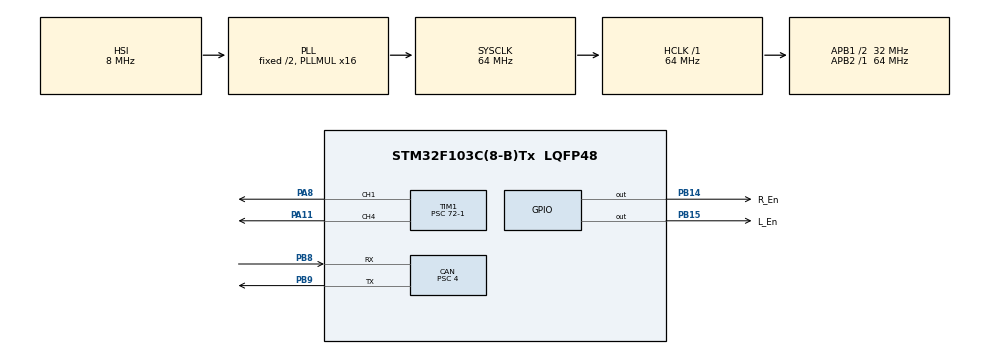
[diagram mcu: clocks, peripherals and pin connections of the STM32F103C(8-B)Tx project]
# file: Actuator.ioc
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CAN.BS1=CAN_BS1_13TQ
CAN.BS2=CAN_BS2_4TQ
CAN.CalculateBaudRate=444444
CAN.CalculateTimeBit=2250
CAN.CalculateTimeQuantum=125.0
CAN.Prescaler=4
Mcu.Family=STM32F1
Mcu.Name=STM32F103C(8-B)Tx
Mcu.Package=LQFP48
NVIC.PriorityGroup=NVIC_PRIORITYGROUP_4
PA11.Signal=S_TIM1_CH4
PA8.Signal=S_TIM1_CH1
PB14.GPIO_Label=R_En
PB14.GPIO_Speed=GPIO_SPEED_FREQ_HIGH
PB14.PinState=GPIO_PIN_SET
PB14.Signal=GPIO_Output
PB15.GPIO_Label=L_En
PB15.GPIO_Speed=GPIO_SPEED_FREQ_HIGH
PB15.PinState=GPIO_PIN_SET
PB15.Signal=GPIO_Output
PB8.Mode=CAN_Activate
PB8.Signal=CAN_RX
PB9.Mode=CAN_Activate
PB9.Signal=CAN_TX
ProjectManager.HeapSize=0x200
ProjectManager.StackSize=0x400
ProjectManager.TargetToolchain=STM32CubeIDE
RCC.AHBFreq_Value=64000000
RCC.APB1CLKDivider=RCC_HCLK_DIV2
RCC.APB1Freq_Value=32000000
RCC.APB1TimFreq_Value=64000000
RCC.APB2Freq_Value=64000000
RCC.APB2TimFreq_Value=64000000
RCC.HCLKFreq_Value=64000000
RCC.PLLMUL=RCC_PLL_MUL16
RCC.SYSCLKFreq_VALUE=64000000
RCC.SYSCLKSource=RCC_SYSCLKSOURCE_PLLCLK
RCC.USBFreq_Value=64000000
SH.S_TIM1_CH1.0=TIM1_CH1,PWM Generation1 CH1
SH.S_TIM1_CH4.0=TIM1_CH4,Output Compare4 CH4
TIM1.Channel-Output\ Compare4\ CH4=TIM_CHANNEL_4
TIM1.Channel-PWM\ Generation1\ CH1=TIM_CHANNEL_1
TIM1.Period=1000-1
TIM1.Prescaler=72-1
board=custom

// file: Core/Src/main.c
/* USER CODE BEGIN Header */
/**
  ******************************************************************************
  * @file           : main.c
  * @brief          : Main program body
  ******************************************************************************
  * @attention
  *
  * Copyright (c) 2024 STMicroelectronics.
  * All rights reserved.
  *
  * This software is licensed under terms that can be found in the LICENSE file
  * in the root directory of this software component.
  * If no LICENSE file comes with this software, it is provided AS-IS.
  *
  ******************************************************************************
  */
/* USER CODE END Header */
#include "main.h"

/* USER CODE BEGIN PTD */
typedef enum
{
	MOTOR_STOP,
	MOTOR_CTRL_FORWARD,
	MOTOR_CTRL_BACKWARD,
}MotorState;
/* USER CODE END PTD */

CAN_HandleTypeDef hcan;

TIM_HandleTypeDef htim1;

/* USER CODE BEGIN PV */
CAN_RxHeaderTypeDef RxHeader;
uint32_t TxMailbox;
uint8_t RxData[8];
uint8_t data_catch = 0;
/* USER CODE END PV */

void SystemClock_Config(void);
static void MX_GPIO_Init(void);
static void MX_CAN_Init(void);
static void MX_TIM1_Init(void);

/* USER CODE BEGIN 0 */

void pwm_set_duty(TIM_HandleTypeDef *htim, uint16_t channel,uint8_t duty)
{
	uint16_t ccr = duty*(htim->Instance->ARR)/100;  //ratio division
	switch(channel)
	{
		case TIM_CHANNEL_1:
			htim->Instance->CCR1 = ccr;
			break;
		case TIM_CHANNEL_2:
			htim->Instance->CCR2 = ccr;
			break;
		case TIM_CHANNEL_3:
			htim->Instance->CCR3 = ccr;
			break;
		case TIM_CHANNEL_4:
			htim->Instance->CCR4 = ccr;
			break;
	}
}

void motor_control(MotorState state, uint8_t speed)
{
	switch(state)
	{
		case MOTOR_STOP:
			pwm_set_duty(&htim1,TIM_CHANNEL_4,0);
			pwm_set_duty(&htim1,TIM_CHANNEL_1,0);
			break;
		case MOTOR_CTRL_FORWARD:
			pwm_set_duty(&htim1,TIM_CHANNEL_4,speed);
			pwm_set_duty(&htim1,TIM_CHANNEL_1,0);
			break;
		case MOTOR_CTRL_BACKWARD:
			pwm_set_duty(&htim1,TIM_CHANNEL_4,0); //RPWM
			pwm_set_duty(&htim1,TIM_CHANNEL_1,speed); //LPWM
			break;
	}
}

void HAL_CAN_RxFifo1MsgPendingCallback(CAN_HandleTypeDef *hcan)
{
	if(HAL_CAN_GetRxMessage(hcan, CAN_RX_FIFO1, &RxHeader, RxData) != HAL_OK)
	{
		Error_Handler();
	}
	else
	{
		data_catch = 1;
	}
}
/*
 *
 */
/* USER CODE END 0 */

int main(void)
{

  /* MCU Configuration--------------------------------------------------------*/

  /* Reset of all peripherals, Initializes the Flash interface and the Systick. */
  HAL_Init();

  /* Configure the system clock */
  SystemClock_Config();

  /* Initialize all configured peripherals */
  MX_GPIO_Init();
  MX_CAN_Init();
  MX_TIM1_Init();
  /* USER CODE BEGIN 2 */
  HAL_TIM_PWM_Start(&htim1,TIM_CHANNEL_4);
  HAL_TIM_PWM_Start(&htim1,TIM_CHANNEL_1);

  HAL_CAN_ActivateNotification(&hcan, CAN_IT_RX_FIFO1_MSG_PENDING);

  CAN_FilterTypeDef canfilterconfig;

  canfilterconfig.FilterActivation = CAN_FILTER_ENABLE;
  canfilterconfig.FilterBank = 1;  // anything between 0 to SlaveStartFilterBank
  canfilterconfig.FilterFIFOAssignment = CAN_RX_FIFO1;
  canfilterconfig.FilterIdHigh = 0x2AA << 5;
  canfilterconfig.FilterIdLow = 0x0000;
  canfilterconfig.FilterMaskIdHigh = 0x2AA << 5;
  canfilterconfig.FilterMaskIdLow = 0x0000;
  canfilterconfig.FilterMode = CAN_FILTERMODE_IDMASK;
  canfilterconfig.FilterScale = CAN_FILTERSCALE_32BIT;

  HAL_CAN_ConfigFilter(&hcan, &canfilterconfig);

  HAL_CAN_Start(&hcan);
  /* USER CODE END 2 */

  /* Infinite loop */
  while (1)
  {

  }
}

void SystemClock_Config(void)
{
  RCC_OscInitTypeDef RCC_OscInitStruct = {0};
  RCC_ClkInitTypeDef RCC_ClkInitStruct = {0};

  /** Initializes the RCC Oscillators according to the specified parameters
  * in the RCC_OscInitTypeDef structure.
  */
  RCC_OscInitStruct.OscillatorType = RCC_OSCILLATORTYPE_HSI;
  RCC_OscInitStruct.HSIState = RCC_HSI_ON;
  RCC_OscInitStruct.HSICalibrationValue = RCC_HSICALIBRATION_DEFAULT;
  RCC_OscInitStruct.PLL.PLLState = RCC_PLL_ON;
  RCC_OscInitStruct.PLL.PLLSource = RCC_PLLSOURCE_HSI_DIV2;
  RCC_OscInitStruct.PLL.PLLMUL = RCC_PLL_MUL16;
  if (HAL_RCC_OscConfig(&RCC_OscInitStruct) != HAL_OK)
  {
    Error_Handler();
  }

  /** Initializes the CPU, AHB and APB buses clocks
  */
  RCC_ClkInitStruct.ClockType = RCC_CLOCKTYPE_HCLK|RCC_CLOCKTYPE_SYSCLK
                              |RCC_CLOCKTYPE_PCLK1|RCC_CLOCKTYPE_PCLK2;
  RCC_ClkInitStruct.SYSCLKSource = RCC_SYSCLKSOURCE_PLLCLK;
  RCC_ClkInitStruct.AHBCLKDivider = RCC_SYSCLK_DIV1;
  RCC_ClkInitStruct.APB1CLKDivider = RCC_HCLK_DIV2;
  RCC_ClkInitStruct.APB2CLKDivider = RCC_HCLK_DIV1;

  if (HAL_RCC_ClockConfig(&RCC_ClkInitStruct, FLASH_LATENCY_2) != HAL_OK)
  {
    Error_Handler();
  }
}

static void MX_CAN_Init(void)
{

  hcan.Instance = CAN1;
  hcan.Init.Prescaler = 4;
  hcan.Init.Mode = CAN_MODE_NORMAL;
  hcan.Init.SyncJumpWidth = CAN_SJW_1TQ;
  hcan.Init.TimeSeg1 = CAN_BS1_13TQ;
  hcan.Init.TimeSeg2 = CAN_BS2_4TQ;
  hcan.Init.TimeTriggeredMode = DISABLE;
  hcan.Init.AutoBusOff = DISABLE;
  hcan.Init.AutoWakeUp = DISABLE;
  hcan.Init.AutoRetransmission = DISABLE;
  hcan.Init.ReceiveFifoLocked = DISABLE;
  hcan.Init.TransmitFifoPriority = DISABLE;
  if (HAL_CAN_Init(&hcan) != HAL_OK)
  {
    Error_Handler();
  }

}

static void MX_TIM1_Init(void)
{

  TIM_MasterConfigTypeDef sMasterConfig = {0};
  TIM_OC_InitTypeDef sConfigOC = {0};
  TIM_BreakDeadTimeConfigTypeDef sBreakDeadTimeConfig = {0};

  htim1.Instance = TIM1;
  htim1.Init.Prescaler = 72-1;
  htim1.Init.CounterMode = TIM_COUNTERMODE_UP;
  htim1.Init.Period = 1000-1;
  htim1.Init.ClockDivision = TIM_CLOCKDIVISION_DIV1;
  htim1.Init.RepetitionCounter = 0;
  htim1.Init.AutoReloadPreload = TIM_AUTORELOAD_PRELOAD_DISABLE;
  if (HAL_TIM_PWM_Init(&htim1) != HAL_OK)
  {
    Error_Handler();
  }
  if (HAL_TIM_OC_Init(&htim1) != HAL_OK)
  {
    Error_Handler();
  }
  sMasterConfig.MasterOutputTrigger = TIM_TRGO_RESET;
  sMasterConfig.MasterSlaveMode = TIM_MASTERSLAVEMODE_DISABLE;
  if (HAL_TIMEx_MasterConfigSynchronization(&htim1, &sMasterConfig) != HAL_OK)
  {
    Error_Handler();
  }
  sConfigOC.OCMode = TIM_OCMODE_PWM1;
  sConfigOC.Pulse = 0;
  sConfigOC.OCPolarity = TIM_OCPOLARITY_HIGH;
  sConfigOC.OCNPolarity = TIM_OCNPOLARITY_HIGH;
  sConfigOC.OCFastMode = TIM_OCFAST_DISABLE;
  sConfigOC.OCIdleState = TIM_OCIDLESTATE_RESET;
  sConfigOC.OCNIdleState = TIM_OCNIDLESTATE_RESET;
  if (HAL_TIM_PWM_ConfigChannel(&htim1, &sConfigOC, TIM_CHANNEL_1) != HAL_OK)
  {
    Error_Handler();
  }
  sConfigOC.OCMode = TIM_OCMODE_TIMING;
  if (HAL_TIM_OC_ConfigChannel(&htim1, &sConfigOC, TIM_CHANNEL_4) != HAL_OK)
  {
    Error_Handler();
  }
  sBreakDeadTimeConfig.OffStateRunMode = TIM_OSSR_DISABLE;
  sBreakDeadTimeConfig.OffStateIDLEMode = TIM_OSSI_DISABLE;
  sBreakDeadTimeConfig.LockLevel = TIM_LOCKLEVEL_OFF;
  sBreakDeadTimeConfig.DeadTime = 0;
  sBreakDeadTimeConfig.BreakState = TIM_BREAK_DISABLE;
  sBreakDeadTimeConfig.BreakPolarity = TIM_BREAKPOLARITY_HIGH;
  sBreakDeadTimeConfig.AutomaticOutput = TIM_AUTOMATICOUTPUT_DISABLE;
  if (HAL_TIMEx_ConfigBreakDeadTime(&htim1, &sBreakDeadTimeConfig) != HAL_OK)
  {
    Error_Handler();
  }
  HAL_TIM_MspPostInit(&htim1);

}

static void MX_GPIO_Init(void)
{
  GPIO_InitTypeDef GPIO_InitStruct = {0};

  /* GPIO Ports Clock Enable */
  __HAL_RCC_GPIOB_CLK_ENABLE();
  __HAL_RCC_GPIOA_CLK_ENABLE();

  /*Configure GPIO pin Output Level */
  HAL_GPIO_WritePin(GPIOB, R_En_Pin|L_En_Pin, GPIO_PIN_SET);

  /*Configure GPIO pins : R_En_Pin L_En_Pin */
  GPIO_InitStruct.Pin = R_En_Pin|L_En_Pin;
  GPIO_InitStruct.Mode = GPIO_MODE_OUTPUT_PP;
  GPIO_InitStruct.Pull = GPIO_NOPULL;
  GPIO_InitStruct.Speed = GPIO_SPEED_FREQ_HIGH;
  HAL_GPIO_Init(GPIOB, &GPIO_InitStruct);

}

void Error_Handler(void)
{
  __disable_irq();
  while (1)
  {
  }
}
